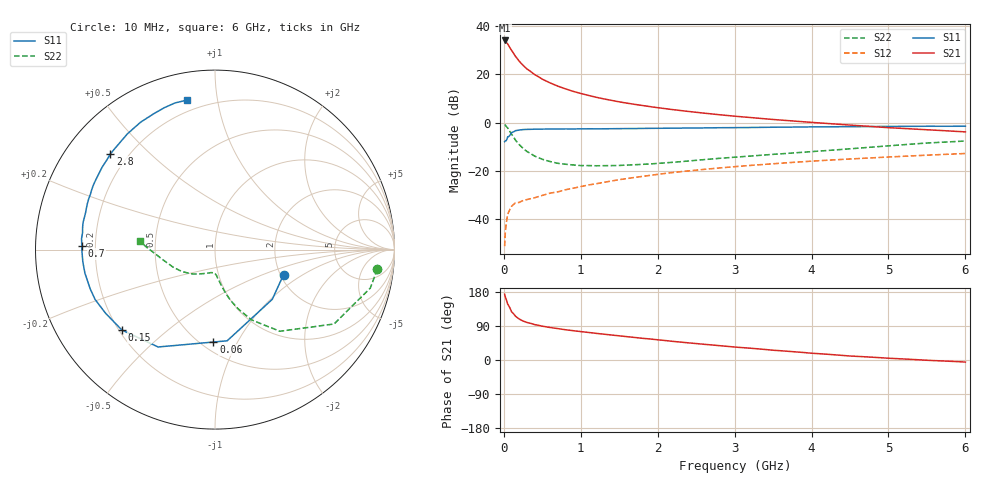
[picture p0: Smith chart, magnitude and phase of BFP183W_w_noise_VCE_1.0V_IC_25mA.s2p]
! (c) 2017  Infineon Technologies AG, Munich
! Infineon Technologies  Discrete & RF Semiconductors
! BFP183W
! VCE =  1.0 V,  IC =  25 mA
! Common Emitter S-Parameters:  Jan 2017
# GHz  S  MA  R  50
!  f  S11  S21  S12  S22
! GHz  MAG  ANG  MAG  ANG  MAG  ANG  MAG  ANG
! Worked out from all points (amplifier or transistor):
!   77 points, 10 MHz to 6 GHz, reference 50 ohm
!   highest |S21| = 34.0 dB at 10 MHz (marker M1)
!   |S21| within 3 dB of that: start of sweep to 79.06 MHz
!   unconditionally stable (mu >= 1): 638.1 MHz to 5.458 GHz
!   at 130 MHz: K = 0.35, MSG = 31.1 dB, |S12| = -33.7 dB
!   at 2.2 GHz: K = 1.19, MAG = 10.4 dB, |S12| = -20.6 dB
!   at 6 GHz: K = 1.00, MSG = 4.5 dB, |S12| = -12.7 dB
!   lowest NFmin = 1.29 dB at 450 MHz
!   S11 on the Smith chart (normalised r, x): 10 MHz: 2.08, -0.69; 60 MHz: 0.57, -0.80; 150 MHz: 0.21, -0.36; 700 MHz: 0.15, +0.01; 2.8 GHz: 0.13, +0.38; 6 GHz: 0.14, +0.82
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0.01  0.4068 -20.0  50.41 173.6  0.0028 82.8  0.911 -6.9
0.02  0.4226 -41.0  49.36 165.9  0.0056 79.6  0.8915 -13.9
0.05  0.5126 -82.4  42.79 147.6  0.0128 62.2  0.7822 -32.0
0.06  0.5151 -91.0  40.21 144.5  0.0139 58.9  0.7362 -35.0
0.1  0.6283 -120.3  31.55 127.2  0.0187 49.9  0.5806 -51.6
0.15  0.6856 -139.2  23.8 115.7  0.022 41.9  0.4403 -62.6
0.2  0.7055 -149.9  18.77 108.1  0.0225 39.1  0.3538 -68.7
0.25  0.7234 -157.4  15.4 102.8  0.0247 39.6  0.2956 -73.0
0.3  0.7289 -162.5  13 99.1  0.0258 39.4  0.2549 -75.9
0.4  0.7366 -169.8  9.93 93.4  0.0281 42.9  0.2044 -79.9
0.5  0.7396 -174.7  7.984 89.3  0.0314 45.7  0.1757 -82.6
0.6  0.7408 -178.6  6.687 85.8  0.035 48.5  0.1579 -84.9
0.7  0.7426 178.4  5.737 82.9  0.0371 50.5  0.145 -86.5
0.9  0.7439 172.7  4.468 77.4  0.0442 54.2  0.1342 -89.9
1.1  0.7504 168.3  3.677 72.7  0.0517 57.0  0.1301 -93.3
1.5  0.756 160.1  2.709 63.8  0.0665 58.6  0.1309 -101.3
2.1  0.7702 148.9  1.957 51.3  0.0896 58.1  0.1482 -115.6
2.8  0.7899 137.5  1.467 37.9  0.116 55.4  0.1835 -132.1
3.1  0.7952 133.0  1.325 32.7  0.1272 53.5  0.1991 -138.9
4.1  0.8228 119.2  0.993 16.6  0.164 47.3  0.2594 -159.5
5.1  0.8407 108.7  0.776 3.7  0.1991 40.5  0.3424 -177.2
6  0.8471 100.8  0.648 -5.4  0.2313 34.0  0.4189 173.7
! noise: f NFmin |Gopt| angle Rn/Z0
0.45  1.29  0.25  177  0.1
0.9  1.32  0.28  180  0.09
1.9  1.8  0.43  -158  0.09
2.4  2.04  0.48  -154  0.13
